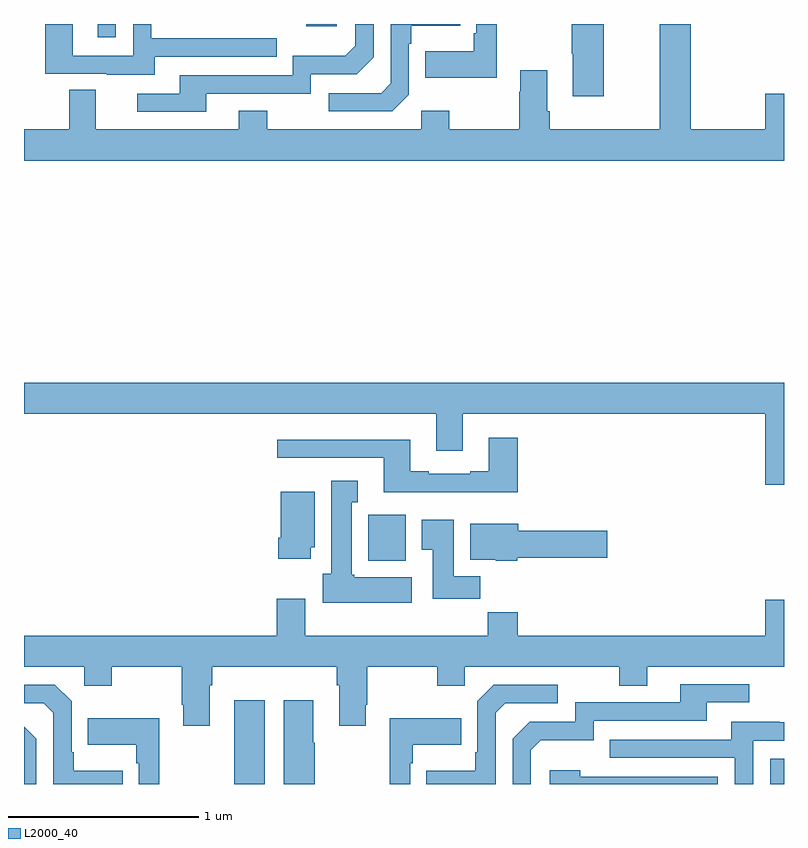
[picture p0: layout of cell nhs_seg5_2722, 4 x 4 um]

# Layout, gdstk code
import gdstk
lib = gdstk.Library(unit=1e-6, precision=1e-09)
def R(c, l, rs):  # rectangles x0, y0, x1, y1
    for r in rs: c.add(gdstk.rectangle(r[:2], r[2:], *l))
def P(c, l, *ps):  # polygons
    for p in ps: c.add(gdstk.Polygon(p, *l))
L2000_40 = (2000, 40)

nhs_seg5_2722 = lib.new_cell('nhs_seg5_2722')
R(nhs_seg5_2722, L2000_40, [(272.928,866.799,273,866.932), (270.812,867.974,271.009,868.216), (269.387,870.729,269.484,870.799), (270.485,870.788,270.646,870.799)])
P(nhs_seg5_2722, L2000_40, [(269.959,870.432),(270.51,870.432),(270.51,870.534),(270.75,870.534),(270.84,870.624),(270.84,870.799),(270.744,870.799),(270.744,870.684),(270.691,870.631),(270.414,870.631),(270.414,870.528),(269.819,870.528),(269.819,870.432),(269.595,870.432),(269.595,870.336),(269.959,870.336)],
  [(271.026,870.426),(271.026,870.695),(271.039,870.695),(271.039,870.791),(271.295,870.791),(271.295,870.799),(270.93,870.799),(270.93,870.486),(270.879,870.435),(270.603,870.435),(270.603,870.339),(270.939,870.339)],
  [(272.052,870.799),(271.882,870.799),(271.882,870.643),(271.889,870.643),(271.889,870.42),(272.052,870.42)],
  [(269.689,870.627),(270.329,870.627),(270.329,870.723),(269.67,870.723),(269.67,870.799),(269.574,870.799),(269.574,870.633),(269.256,870.633),(269.256,870.799),(269.111,870.799),(269.111,870.537),(269.435,870.537),(269.435,870.533),(269.689,870.533)],
  [(273,870.433),(272.9,870.433),(272.9,870.244),(272.509,870.244),(272.509,870.799),(272.345,870.799),(272.345,870.244),(271.766,870.244),(271.766,870.34),(271.753,870.34),(271.753,870.556),(271.613,870.556),(271.613,870.443),(271.606,870.443),(271.606,870.244),(271.239,870.244),(271.239,870.343),(271.092,870.343),(271.092,870.244),(270.279,870.244),(270.279,870.343),(270.131,870.343),(270.131,870.244),(269.377,870.244),(269.377,870.452),(269.237,870.452),(269.237,870.244),(269,870.244),(269,870.08),(273,870.08)],
  [(271.489,870.799),(271.38,870.799),(271.38,870.751),(271.368,870.751),(271.368,870.655),(271.111,870.655),(271.111,870.515),(271.489,870.515)],
  [(273,868.912),(269,868.912),(269,868.748),(271.169,868.748),(271.169,868.554),(271.309,868.554),(271.309,868.748),(272.9,868.748),(272.9,868.374),(273,868.374)],
  [(271.598,868.621),(271.445,868.621),(271.445,868.444),(271.349,868.444),(271.349,868.431),(271.129,868.431),(271.129,868.444),(271.033,868.444),(271.033,868.612),(270.333,868.612),(270.333,868.515),(270.893,868.515),(270.893,868.334),(271.598,868.334)],
  [(271.042,867.886),(270.738,867.886),(270.738,867.9),(270.724,867.9),(270.724,868.283),(270.757,868.283),(270.757,868.396),(270.617,868.396),(270.617,867.906),(270.572,867.906),(270.572,867.752),(271.042,867.752)],
  [(270.508,868.044),(270.529,868.044),(270.529,868.336),(270.35,868.336),(270.35,868.096),(270.338,868.096),(270.338,867.984),(270.508,867.984)],
  [(271.4,867.892),(271.261,867.892),(271.261,868.189),(271.094,868.189),(271.094,868.033),(271.151,868.033),(271.151,867.774),(271.4,867.774)],
  [(271.596,867.991),(272.071,867.991),(272.071,868.133),(271.6,868.133),(271.6,868.168),(271.349,868.168),(271.349,867.98),(271.482,867.98),(271.482,867.974),(271.596,867.974)],
  [(269.977,867.32),(269.99,867.32),(269.99,867.416),(270.647,867.416),(270.647,867.32),(270.659,867.32),(270.659,867.105),(270.799,867.105),(270.799,867.217),(270.807,867.217),(270.807,867.416),(271.174,867.416),(271.174,867.317),(271.32,867.317),(271.32,867.416),(272.134,867.416),(272.134,867.317),(272.281,867.317),(272.281,867.416),(273,867.416),(273,867.769),(272.9,867.769),(272.9,867.58),(271.598,867.58),(271.598,867.704),(271.441,867.704),(271.441,867.58),(270.481,867.58),(270.481,867.775),(270.329,867.775),(270.329,867.58),(269,867.58),(269,867.416),(269.316,867.416),(269.316,867.317),(269.463,867.317),(269.463,867.416),(269.83,867.416),(269.83,867.217),(269.837,867.217),(269.837,867.105),(269.977,867.105)],
  [(271.668,866.976),(271.721,867.029),(271.998,867.029),(271.998,867.132),(272.593,867.132),(272.593,867.228),(272.818,867.228),(272.818,867.324),(272.453,867.324),(272.453,867.228),(271.902,867.228),(271.902,867.126),(271.662,867.126),(271.572,867.036),(271.572,866.799),(271.668,866.799)],
  [(271.482,867.174),(271.533,867.225),(271.81,867.225),(271.81,867.321),(271.473,867.321),(271.386,867.234),(271.386,866.965),(271.374,866.965),(271.374,866.869),(271.117,866.869),(271.117,866.799),(271.482,866.799)],
  [(269.519,866.869),(269.263,866.869),(269.263,866.965),(269.25,866.965),(269.25,867.234),(269.163,867.321),(269,867.321),(269,867.225),(269.103,867.225),(269.154,867.174),(269.154,866.799),(269.519,866.799)],
  [(270.268,867.241),(270.107,867.241),(270.107,866.886),(270.106,866.886),(270.106,866.799),(270.268,866.799)],
  [(270.531,867.017),(270.523,867.017),(270.523,867.241),(270.368,867.241),(270.368,866.799),(270.531,866.799)],
  [(271.032,866.909),(271.045,866.909),(271.045,867.005),(271.301,867.005),(271.301,867.145),(270.924,867.145),(270.924,866.799),(271.032,866.799)],
  [(269.713,867.145),(269.335,867.145),(269.335,867.005),(269.592,867.005),(269.592,866.909),(269.604,866.909),(269.604,866.799),(269.713,866.799)],
  [(272.838,867.027),(273,867.027),(273,867.123),(272.977,867.123),(272.977,867.127),(272.723,867.127),(272.723,867.033),(272.083,867.033),(272.083,866.937),(272.742,866.937),(272.742,866.799),(272.838,866.799)],
  [(269.064,867.036),(269,867.1),(269,866.799),(269.064,866.799)],
  [(272.652,866.838),(271.928,866.838),(271.928,866.872),(271.767,866.872),(271.767,866.799),(272.652,866.799)])

lib.write_gds('nhs_seg5_2722.gds')
